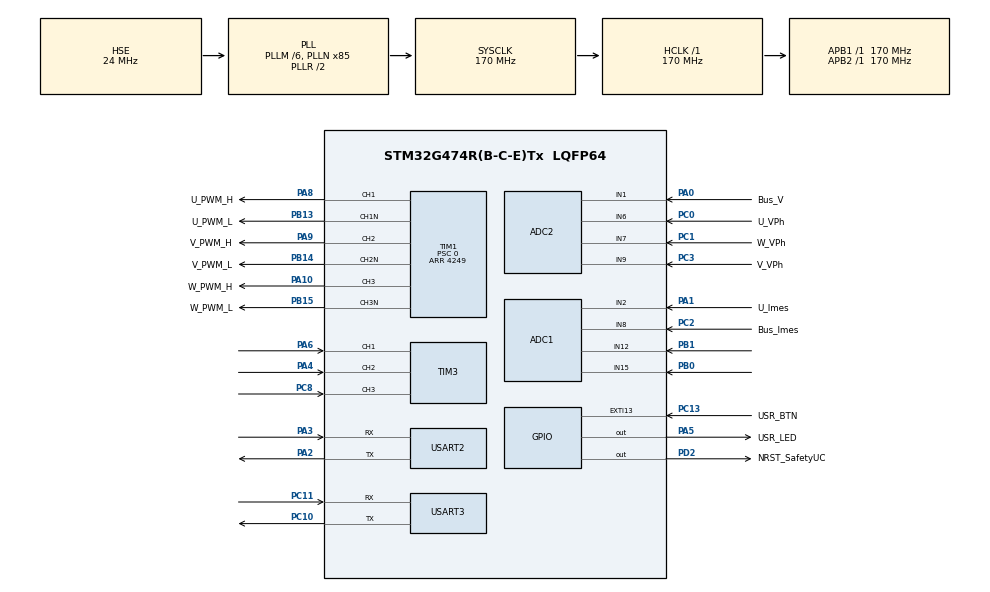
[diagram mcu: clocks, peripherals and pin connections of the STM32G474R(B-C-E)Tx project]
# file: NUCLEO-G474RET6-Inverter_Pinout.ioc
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ADC1.Channel-0\#ChannelRegularConversion=ADC_CHANNEL_8
ADC1.NbrOfConversionFlag=1
ADC1.OffsetNumber-0\#ChannelRegularConversion=ADC_OFFSET_NONE
ADC1.Rank-0\#ChannelRegularConversion=1
ADC1.SamplingTime-0\#ChannelRegularConversion=ADC_SAMPLETIME_2CYCLES_5
ADC1.master=1
ADC2.Channel-0\#ChannelRegularConversion=ADC_CHANNEL_6
ADC2.NbrOfConversionFlag=1
ADC2.OffsetNumber-0\#ChannelRegularConversion=ADC_OFFSET_NONE
ADC2.Rank-0\#ChannelRegularConversion=1
ADC2.SamplingTime-0\#ChannelRegularConversion=ADC_SAMPLETIME_2CYCLES_5
Mcu.Family=STM32G4
Mcu.Name=STM32G474R(B-C-E)Tx
Mcu.Package=LQFP64
NVIC.EXTI15_10_IRQn=true\:0\:0\:false\:false\:true\:true\:true\:true
NVIC.PriorityGroup=NVIC_PRIORITYGROUP_4
NVIC.TIM6_DAC_IRQn=true\:15\:0\:false\:false\:true\:false\:true\:true
NVIC.TimeBase=TIM6_DAC_IRQn
NVIC.TimeBaseIP=TIM6
NVIC.USART2_IRQn=true\:0\:0\:false\:false\:true\:true\:true\:true
NVIC.USART3_IRQn=true\:0\:0\:false\:false\:true\:true\:true\:true
PA0.GPIO_Label=Bus_V
PA0.Mode=IN1-Single-Ended
PA0.Signal=ADC2_IN1
PA1.GPIO_Label=U_Imes
PA1.Mode=IN2-Single-Ended
PA1.Signal=ADC1_IN2
PA10.GPIO_Label=W_PWM_H
PA10.Signal=S_TIM1_CH3
PA13.GPIO_Label=T_SWDIO
PA13.Mode=Trace_Asynchronous_SW
PA13.Signal=SYS_JTMS-SWDIO
PA14.GPIO_Label=T_SWCLK
PA14.Mode=Trace_Asynchronous_SW
PA14.Signal=SYS_JTCK-SWCLK
PA2.Mode=Asynchronous
PA2.Signal=USART2_TX
PA3.Mode=Asynchronous
PA3.Signal=USART2_RX
PA4.Signal=S_TIM3_CH2
PA5.GPIO_Label=USR_LED
PA5.Signal=GPIO_Output
PA6.Signal=S_TIM3_CH1
PA8.GPIO_Label=U_PWM_H
PA8.Signal=S_TIM1_CH1
PA9.GPIO_Label=V_PWM_H
PA9.Signal=S_TIM1_CH2
PB0.Mode=IN15-Single-Ended
PB0.Signal=ADC1_IN15
PB1.Mode=IN12-Single-Ended
PB1.Signal=ADC1_IN12
PB13.GPIO_Label=U_PWM_L
PB13.Mode=PWM Generation1 CH1 CH1N
PB13.Signal=TIM1_CH1N
PB14.GPIO_Label=V_PWM_L
PB14.Mode=PWM Generation2 CH2 CH2N
PB14.Signal=TIM1_CH2N
PB15.GPIO_Label=W_PWM_L
PB15.Mode=PWM Generation3 CH3 CH3N
PB15.Signal=TIM1_CH3N
PB3.GPIO_Label=T_SWO
PB3.Mode=Trace_Asynchronous_SW
PB3.Signal=SYS_JTDO-SWO
PC0.GPIO_Label=U_VPh
PC0.Mode=IN6-Single-Ended
PC0.Signal=ADC2_IN6
PC1.GPIO_Label=W_VPh
PC1.Mode=IN7-Single-Ended
PC1.Signal=ADC2_IN7
PC10.Mode=Asynchronous
PC10.Signal=USART3_TX
PC11.Mode=Asynchronous
PC11.Signal=USART3_RX
PC13.GPIO_Label=USR_BTN
PC13.Signal=GPXTI13
PC14-OSC32_IN.Mode=LSE-External-Oscillator
PC14-OSC32_IN.Signal=RCC_OSC32_IN
PC15-OSC32_OUT.Mode=LSE-External-Oscillator
PC15-OSC32_OUT.Signal=RCC_OSC32_OUT
PC2.GPIO_Label=Bus_Imes
PC2.Mode=IN8-Single-Ended
PC2.Signal=ADC1_IN8
PC3.GPIO_Label=V_VPh
PC3.Mode=IN9-Single-Ended
PC3.Signal=ADC2_IN9
PC8.Signal=S_TIM3_CH3
PD2.GPIO_Label=NRST_SafetyUC
PD2.Signal=GPIO_Output
PF0-OSC_IN.Mode=HSE-External-Oscillator
PF0-OSC_IN.Signal=RCC_OSC_IN
PF1-OSC_OUT.Mode=HSE-External-Oscillator
PF1-OSC_OUT.Signal=RCC_OSC_OUT
ProjectManager.HeapSize=0x200
ProjectManager.StackSize=0x400
ProjectManager.TargetToolchain=STM32CubeIDE
RCC.ADC12Freq_Value=170000000
RCC.ADC345Freq_Value=170000000
RCC.AHBFreq_Value=170000000
RCC.APB1Freq_Value=170000000
RCC.APB1TimFreq_Value=170000000
RCC.APB2Freq_Value=170000000
RCC.APB2TimFreq_Value=170000000
RCC.CortexFreq_Value=170000000
RCC.EXTERNAL_CLOCK_VALUE=12288000
RCC.HCLKFreq_Value=170000000
RCC.HSE_VALUE=24000000
RCC.HSI48_VALUE=48000000
RCC.HSI_VALUE=16000000
RCC.PLLM=RCC_PLLM_DIV6
RCC.PLLN=85
RCC.PLLSourceVirtual=RCC_PLLSOURCE_HSE
RCC.RTCClockSelection=RCC_RTCCLKSOURCE_LSE
RCC.SYSCLKFreq_VALUE=170000000
RCC.SYSCLKSource=RCC_SYSCLKSOURCE_PLLCLK
RCC.USBFreq_Value=170000000
RCC.VCOOutputFreq_Value=340000000
SH.S_TIM1_CH1.0=TIM1_CH1,PWM Generation1 CH1 CH1N
SH.S_TIM1_CH2.0=TIM1_CH2,PWM Generation2 CH2 CH2N
SH.S_TIM1_CH3.0=TIM1_CH3,PWM Generation3 CH3 CH3N
SH.S_TIM3_CH1.0=TIM3_CH1,Xored_Inputs_Hall_Sensor_Interface
SH.S_TIM3_CH2.0=TIM3_CH2,Xored_Inputs_Hall_Sensor_Interface
SH.S_TIM3_CH3.0=TIM3_CH3,Xored_Inputs_Hall_Sensor_Interface
TIM1.Channel-PWM\ Generation1\ CH1\ CH1N=TIM_CHANNEL_1
TIM1.Channel-PWM\ Generation2\ CH2\ CH2N=TIM_CHANNEL_2
TIM1.Channel-PWM\ Generation3\ CH3\ CH3N=TIM_CHANNEL_3
TIM1.CounterMode=TIM_COUNTERMODE_CENTERALIGNED1
TIM1.DeadTime=34
TIM1.PeriodNoDither=4249
TIM1.Prescaler=0
TIM1.PulseNoDither_1=2550
TIM1.PulseNoDither_2=1750
USART2.VirtualMode-Asynchronous=VM_ASYNC
USART3.VirtualMode-Asynchronous=VM_ASYNC
VP_SYS_VS_DBSignals.Mode=DisableDeadBatterySignals
VP_SYS_VS_tim6.Mode=TIM6
board=NUCLEO-G474RE

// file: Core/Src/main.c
/* USER CODE BEGIN Header */
/**
 ******************************************************************************
 * @file           : main.c
 * @brief          : Main program body
 ******************************************************************************
 * @attention
 *
 * Copyright (c) 2023 STMicroelectronics.
 * All rights reserved.
 *
 * This software is licensed under terms that can be found in the LICENSE file
 * in the root directory of this software component.
 * If no LICENSE file comes with this software, it is provided AS-IS.
 *
 ******************************************************************************
 */
/* USER CODE END Header */
#include "main.h"
#include "adc.h"
#include "tim.h"
#include "usart.h"
#include "gpio.h"

/* USER CODE BEGIN Includes */
#include "mylibs/shell.h"
#include <stdio.h>
#include <string.h>
/* USER CODE END Includes */

/* USER CODE BEGIN PV */
uint8_t pData[20];
uint8_t buffer[6];
uint16_t size =20;
uint8_t speed[UART_TX_BUFFER_SIZE];
uint8_t u_imes;

/* USER CODE END PV */

void SystemClock_Config(void);

int main(void)
{

	/* MCU Configuration--------------------------------------------------------*/

	/* Reset of all peripherals, Initializes the Flash interface and the Systick. */
	HAL_Init();

	/* Configure the system clock */
	SystemClock_Config();

	/* Initialize all configured peripherals */
	MX_GPIO_Init();
	MX_ADC2_Init();
	MX_ADC1_Init();
	MX_TIM1_Init();
	MX_TIM3_Init();
	MX_USART2_UART_Init();
	MX_USART3_UART_Init();
	/* USER CODE BEGIN 2 */
	Shell_Init();
	HAL_TIM_PWM_Start (&htim1, TIM_CHANNEL_1);
	HAL_TIMEx_PWMN_Start (&htim1, TIM_CHANNEL_1);
	HAL_TIM_PWM_Start (&htim1, TIM_CHANNEL_2);
	HAL_TIMEx_PWMN_Start (&htim1, TIM_CHANNEL_2);
	HAL_ADC_Start(&hadc1);
	/* USER CODE END 2 */

	/* Infinite loop */
	/* USER CODE BEGIN WHILE */
	while (1)
	{
		HAL_ADC_PollForConversion(&hadc1, HAL_MAX_DELAY);
		u_imes = HAL_ADC_GetValue(&hadc1);
		Shell_Loop();

		/* USER CODE END WHILE */

	}
}

void SystemClock_Config(void)
{
	RCC_OscInitTypeDef RCC_OscInitStruct = {0};
	RCC_ClkInitTypeDef RCC_ClkInitStruct = {0};

	/** Configure the main internal regulator output voltage
	 */
	HAL_PWREx_ControlVoltageScaling(PWR_REGULATOR_VOLTAGE_SCALE1_BOOST);

	/** Initializes the RCC Oscillators according to the specified parameters
	 * in the RCC_OscInitTypeDef structure.
	 */
	RCC_OscInitStruct.OscillatorType = RCC_OSCILLATORTYPE_HSE;
	RCC_OscInitStruct.HSEState = RCC_HSE_ON;
	RCC_OscInitStruct.PLL.PLLState = RCC_PLL_ON;
	RCC_OscInitStruct.PLL.PLLSource = RCC_PLLSOURCE_HSE;
	RCC_OscInitStruct.PLL.PLLM = RCC_PLLM_DIV6;
	RCC_OscInitStruct.PLL.PLLN = 85;
	RCC_OscInitStruct.PLL.PLLP = RCC_PLLP_DIV2;
	RCC_OscInitStruct.PLL.PLLQ = RCC_PLLQ_DIV2;
	RCC_OscInitStruct.PLL.PLLR = RCC_PLLR_DIV2;
	if (HAL_RCC_OscConfig(&RCC_OscInitStruct) != HAL_OK)
	{
		Error_Handler();
	}

	/** Initializes the CPU, AHB and APB buses clocks
	 */
	RCC_ClkInitStruct.ClockType = RCC_CLOCKTYPE_HCLK|RCC_CLOCKTYPE_SYSCLK
			|RCC_CLOCKTYPE_PCLK1|RCC_CLOCKTYPE_PCLK2;
	RCC_ClkInitStruct.SYSCLKSource = RCC_SYSCLKSOURCE_PLLCLK;
	RCC_ClkInitStruct.AHBCLKDivider = RCC_SYSCLK_DIV1;
	RCC_ClkInitStruct.APB1CLKDivider = RCC_HCLK_DIV1;
	RCC_ClkInitStruct.APB2CLKDivider = RCC_HCLK_DIV1;

	if (HAL_RCC_ClockConfig(&RCC_ClkInitStruct, FLASH_LATENCY_4) != HAL_OK)
	{
		Error_Handler();
	}
}

void HAL_TIM_PeriodElapsedCallback(TIM_HandleTypeDef *htim)
{
	if (htim->Instance == TIM6) {
		HAL_IncTick();
	}
}

void Error_Handler(void)
{
	__disable_irq();
	while (1)
	{
	}
}
